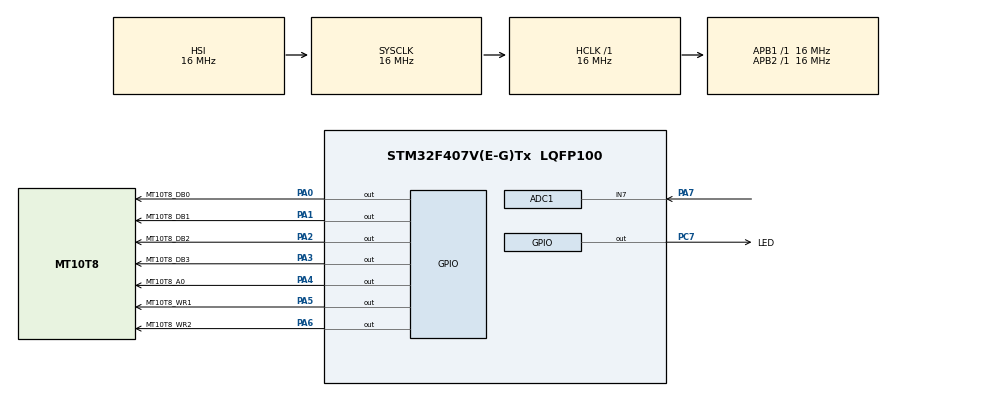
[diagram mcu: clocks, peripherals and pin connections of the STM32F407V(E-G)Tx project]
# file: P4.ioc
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ADC1.Channel-0\#ChannelRegularConversion=ADC_CHANNEL_7
ADC1.InjNumberOfConversion=0
ADC1.NbrOfConversionFlag=1
ADC1.Rank-0\#ChannelRegularConversion=1
ADC1.SamplingTime-0\#ChannelRegularConversion=ADC_SAMPLETIME_3CYCLES
ADC1.master=1
Mcu.Family=STM32F4
Mcu.Name=STM32F407V(E-G)Tx
Mcu.Package=LQFP100
NVIC.PriorityGroup=NVIC_PRIORITYGROUP_4
PA0-WKUP.GPIO_Label=MT10T8_DB0
PA0-WKUP.Signal=GPIO_Output
PA1.GPIO_Label=MT10T8_DB1
PA1.Signal=GPIO_Output
PA2.GPIO_Label=MT10T8_DB2
PA2.Signal=GPIO_Output
PA3.GPIO_Label=MT10T8_DB3
PA3.Signal=GPIO_Output
PA4.GPIO_Label=MT10T8_A0
PA4.Signal=GPIO_Output
PA5.GPIO_Label=MT10T8_WR1
PA5.Signal=GPIO_Output
PA6.GPIO_Label=MT10T8_WR2
PA6.Signal=GPIO_Output
PA7.Signal=ADCx_IN7
PC7.GPIO_Label=LED
PC7.Signal=GPIO_Output
ProjectManager.HeapSize=0x200
ProjectManager.StackSize=0x400
ProjectManager.TargetToolchain=STM32CubeIDE
RCC.AHBFreq_Value=16000000
RCC.APB1Freq_Value=16000000
RCC.APB2Freq_Value=16000000
RCC.CortexFreq_Value=16000000
RCC.HSE_VALUE=25000000
RCC.HSI_VALUE=16000000
RCC.LSE_VALUE=32768
RCC.SYSCLKFreq_VALUE=16000000
RCC.VCOOutputFreq_Value=192000000
SH.ADCx_IN7.0=ADC1_IN7,IN7
board=custom

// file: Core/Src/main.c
/* USER CODE BEGIN Header */
/**
  ******************************************************************************
  * @file           : main.c
  * @brief          : Main program body
  ******************************************************************************
  * @attention
  *
  * Copyright (c) 2022 STMicroelectronics.
  * All rights reserved.
  *
  * This software is licensed under terms that can be found in the LICENSE file
  * in the root directory of this software component.
  * If no LICENSE file comes with this software, it is provided AS-IS.
  *
  ******************************************************************************
  */
/* USER CODE END Header */
#include "main.h"
#include "stdio.h"
/* USER CODE BEGIN Includes */
#include "mt10t8.h"
/* USER CODE END Includes */

ADC_HandleTypeDef hadc1;

void SystemClock_Config(void);
static void MX_GPIO_Init(void);
static void MX_ADC1_Init(void);

int main(void)
{

  /* MCU Configuration--------------------------------------------------------*/

  /* Reset of all peripherals, Initializes the Flash interface and the Systick. */
  HAL_Init();

  /* Configure the system clock */
  SystemClock_Config();

  /* Initialize all configured peripherals */
  MX_GPIO_Init();
  MX_ADC1_Init();
  /* USER CODE BEGIN 2 */

    const uint8_t       char_array1[MT10T8_DIMENTION] = "0123456789";                                           					// Char string data.
    const uint8_t       char_array2[MT10T8_DIMENTION] = "AbcdEFJGhL";                                           					// Char string data.
    const uint8_t       char_array3[2 * MT10T8_DIMENTION] = "u-*_!^..A..\0";                                    					// Char string data.
    uint8_t             char_array4[2 * MT10T8_DIMENTION];                                         									// Char string data.

    const mt10t8_bus_t	mt10t8_bus = {(uint8_t*)(PERIPH_BB_BASE + (((uint32_t)&(GPIOA->ODR)) & 0x000FFFFF) * 32 + GPIO_ODR_OD4_Pos * 4), \
    								  (uint8_t*)(PERIPH_BB_BASE + (((uint32_t)&(GPIOA->ODR)) & 0x000FFFFF) * 32 + GPIO_ODR_OD0_Pos * 4), \
    				                  (uint8_t*)(PERIPH_BB_BASE + (((uint32_t)&(GPIOA->ODR)) & 0x000FFFFF) * 32 + GPIO_ODR_OD1_Pos * 4), \
									  (uint8_t*)(PERIPH_BB_BASE + (((uint32_t)&(GPIOA->ODR)) & 0x000FFFFF) * 32 + GPIO_ODR_OD2_Pos * 4), \
									  (uint8_t*)(PERIPH_BB_BASE + (((uint32_t)&(GPIOA->ODR)) & 0x000FFFFF) * 32 + GPIO_ODR_OD3_Pos * 4), \
    								  (uint8_t*)(PERIPH_BB_BASE + (((uint32_t)&(GPIOA->ODR)) & 0x000FFFFF) * 32 + GPIO_ODR_OD5_Pos * 4)}; // Inicialization pt_A0, pt_D0, pt_D1, pt_D2, pt_D3, pt_WR1.

    const mt10t8_t		mt10t8_1 = {&mt10t8_bus, PERIPH_BB_BASE + (((uint32_t)&(GPIOA->ODR)) & 0x000FFFFF) * 32 + GPIO_ODR_OD6_Pos * 4};	// LCI description structure (pt_bus, pt_WR2).

    HAL_GPIO_WritePin(GPIOC, LED_Pin, GPIO_PIN_SET);
    HAL_Delay(1000);
    HAL_GPIO_WritePin(GPIOC, LED_Pin, GPIO_PIN_RESET);
    HAL_Delay(1000);

    mt10t8_init(&mt10t8_1);                                                                                         // Initialization LCI. Result: unlock and clear LCI.
    HAL_GPIO_WritePin(GPIOC, LED_Pin, GPIO_PIN_SET);
    HAL_Delay(1000);
    HAL_GPIO_WritePin(GPIOC, LED_Pin, GPIO_PIN_RESET);
    HAL_Delay(1000);

    mt10t8_out_char_string(&mt10t8_1, &char_array1[0]);
    HAL_GPIO_WritePin(GPIOC, LED_Pin, GPIO_PIN_SET);
    HAL_Delay(1000);
    HAL_GPIO_WritePin(GPIOC, LED_Pin, GPIO_PIN_RESET);
    HAL_Delay(1000);

    mt10t8_out_char_string(&mt10t8_1, &char_array2[0]);
    HAL_GPIO_WritePin(GPIOC, LED_Pin, GPIO_PIN_SET);
    HAL_Delay(1000);
    HAL_GPIO_WritePin(GPIOC, LED_Pin, GPIO_PIN_RESET);
    HAL_Delay(1000);

    mt10t8_out_char_string(&mt10t8_1, &char_array3[0]);
	HAL_GPIO_WritePin(GPIOC, LED_Pin, GPIO_PIN_SET);
	HAL_Delay(1000);
	HAL_GPIO_WritePin(GPIOC, LED_Pin, GPIO_PIN_RESET);
	HAL_Delay(1000);

	sprintf(&char_array4[0], "%d", 0);
	mt10t8_out_char_string(&mt10t8_1, &char_array4[0]);
  	HAL_GPIO_WritePin(GPIOC, LED_Pin, GPIO_PIN_SET);
	HAL_Delay(1000);
	HAL_GPIO_WritePin(GPIOC, LED_Pin, GPIO_PIN_RESET);
    HAL_Delay(1000);

	sprintf(&char_array4[0], "%d", -1);
	mt10t8_out_char_string(&mt10t8_1, &char_array4[0]);
  	HAL_GPIO_WritePin(GPIOC, LED_Pin, GPIO_PIN_SET);
	HAL_Delay(1000);
	HAL_GPIO_WritePin(GPIOC, LED_Pin, GPIO_PIN_RESET);
    HAL_Delay(1000);

	sprintf(&char_array4[0], "%d", -1000000001);
	mt10t8_out_char_string(&mt10t8_1, &char_array4[0]);
  	HAL_GPIO_WritePin(GPIOC, LED_Pin, GPIO_PIN_SET);
	HAL_Delay(1000);
	HAL_GPIO_WritePin(GPIOC, LED_Pin, GPIO_PIN_RESET);
    HAL_Delay(1000);

	sprintf(&char_array4[0], "%o", 15);
	mt10t8_out_char_string(&mt10t8_1, &char_array4[0]);
  	HAL_GPIO_WritePin(GPIOC, LED_Pin, GPIO_PIN_SET);
	HAL_Delay(1000);
	HAL_GPIO_WritePin(GPIOC, LED_Pin, GPIO_PIN_RESET);
    HAL_Delay(1000);

	sprintf(&char_array4[0], "%x", 0xFFFFFFFF);
	mt10t8_out_char_string(&mt10t8_1, &char_array4[0]);
  	HAL_GPIO_WritePin(GPIOC, LED_Pin, GPIO_PIN_SET);
	HAL_Delay(1000);
	HAL_GPIO_WritePin(GPIOC, LED_Pin, GPIO_PIN_RESET);
    HAL_Delay(1000);

	sprintf(&char_array4[0], "%u", -1);
	mt10t8_out_char_string(&mt10t8_1, &char_array4[0]);
  	HAL_GPIO_WritePin(GPIOC, LED_Pin, GPIO_PIN_SET);
	HAL_Delay(1000);
	HAL_GPIO_WritePin(GPIOC, LED_Pin, GPIO_PIN_RESET);
    HAL_Delay(1000);

  /* USER CODE END 2 */

  /* Infinite loop */
  while (1)
  {

  }
}

void SystemClock_Config(void)
{
  RCC_OscInitTypeDef RCC_OscInitStruct = {0};
  RCC_ClkInitTypeDef RCC_ClkInitStruct = {0};

  /** Configure the main internal regulator output voltage
  */
  __HAL_RCC_PWR_CLK_ENABLE();
  __HAL_PWR_VOLTAGESCALING_CONFIG(PWR_REGULATOR_VOLTAGE_SCALE1);
  /** Initializes the RCC Oscillators according to the specified parameters
  * in the RCC_OscInitTypeDef structure.
  */
  RCC_OscInitStruct.OscillatorType = RCC_OSCILLATORTYPE_HSI;
  RCC_OscInitStruct.HSIState = RCC_HSI_ON;
  RCC_OscInitStruct.HSICalibrationValue = RCC_HSICALIBRATION_DEFAULT;
  RCC_OscInitStruct.PLL.PLLState = RCC_PLL_NONE;
  if (HAL_RCC_OscConfig(&RCC_OscInitStruct) != HAL_OK)
  {
    Error_Handler();
  }
  /** Initializes the CPU, AHB and APB buses clocks
  */
  RCC_ClkInitStruct.ClockType = RCC_CLOCKTYPE_HCLK|RCC_CLOCKTYPE_SYSCLK
                              |RCC_CLOCKTYPE_PCLK1|RCC_CLOCKTYPE_PCLK2;
  RCC_ClkInitStruct.SYSCLKSource = RCC_SYSCLKSOURCE_HSI;
  RCC_ClkInitStruct.AHBCLKDivider = RCC_SYSCLK_DIV1;
  RCC_ClkInitStruct.APB1CLKDivider = RCC_HCLK_DIV1;
  RCC_ClkInitStruct.APB2CLKDivider = RCC_HCLK_DIV1;

  if (HAL_RCC_ClockConfig(&RCC_ClkInitStruct, FLASH_LATENCY_0) != HAL_OK)
  {
    Error_Handler();
  }
}

static void MX_ADC1_Init(void)
{

  ADC_ChannelConfTypeDef sConfig = {0};

  /** Configure the global features of the ADC (Clock, Resolution, Data Alignment and number of conversion)
  */
  hadc1.Instance = ADC1;
  hadc1.Init.ClockPrescaler = ADC_CLOCK_SYNC_PCLK_DIV2;
  hadc1.Init.Resolution = ADC_RESOLUTION_12B;
  hadc1.Init.ScanConvMode = DISABLE;
  hadc1.Init.ContinuousConvMode = DISABLE;
  hadc1.Init.DiscontinuousConvMode = DISABLE;
  hadc1.Init.ExternalTrigConvEdge = ADC_EXTERNALTRIGCONVEDGE_NONE;
  hadc1.Init.ExternalTrigConv = ADC_SOFTWARE_START;
  hadc1.Init.DataAlign = ADC_DATAALIGN_RIGHT;
  hadc1.Init.NbrOfConversion = 1;
  hadc1.Init.DMAContinuousRequests = DISABLE;
  hadc1.Init.EOCSelection = ADC_EOC_SINGLE_CONV;
  if (HAL_ADC_Init(&hadc1) != HAL_OK)
  {
    Error_Handler();
  }
  /** Configure for the selected ADC regular channel its corresponding rank in the sequencer and its sample time.
  */
  sConfig.Channel = ADC_CHANNEL_7;
  sConfig.Rank = 1;
  sConfig.SamplingTime = ADC_SAMPLETIME_3CYCLES;
  if (HAL_ADC_ConfigChannel(&hadc1, &sConfig) != HAL_OK)
  {
    Error_Handler();
  }

}

static void MX_GPIO_Init(void)
{
  GPIO_InitTypeDef GPIO_InitStruct = {0};

  /* GPIO Ports Clock Enable */
  __HAL_RCC_GPIOA_CLK_ENABLE();
  __HAL_RCC_GPIOC_CLK_ENABLE();

  /*Configure GPIO pin Output Level */
  HAL_GPIO_WritePin(GPIOA, MT10T8_DB0_Pin|MT10T8_DB1_Pin|MT10T8_DB2_Pin|MT10T8_DB3_Pin
                          |MT10T8_A0_Pin|MT10T8_WR1_Pin|MT10T8_WR2_Pin, GPIO_PIN_RESET);

  /*Configure GPIO pin Output Level */
  HAL_GPIO_WritePin(LED_GPIO_Port, LED_Pin, GPIO_PIN_RESET);

  /*Configure GPIO pins : MT10T8_DB0_Pin MT10T8_DB1_Pin MT10T8_DB2_Pin MT10T8_DB3_Pin
                           MT10T8_A0_Pin MT10T8_WR1_Pin MT10T8_WR2_Pin */
  GPIO_InitStruct.Pin = MT10T8_DB0_Pin|MT10T8_DB1_Pin|MT10T8_DB2_Pin|MT10T8_DB3_Pin
                          |MT10T8_A0_Pin|MT10T8_WR1_Pin|MT10T8_WR2_Pin;
  GPIO_InitStruct.Mode = GPIO_MODE_OUTPUT_PP;
  GPIO_InitStruct.Pull = GPIO_NOPULL;
  GPIO_InitStruct.Speed = GPIO_SPEED_FREQ_LOW;
  HAL_GPIO_Init(GPIOA, &GPIO_InitStruct);

  /*Configure GPIO pin : LED_Pin */
  GPIO_InitStruct.Pin = LED_Pin;
  GPIO_InitStruct.Mode = GPIO_MODE_OUTPUT_PP;
  GPIO_InitStruct.Pull = GPIO_NOPULL;
  GPIO_InitStruct.Speed = GPIO_SPEED_FREQ_LOW;
  HAL_GPIO_Init(LED_GPIO_Port, &GPIO_InitStruct);

}

void Error_Handler(void)
{
  __disable_irq();
  while (1)
  {
  }
}
